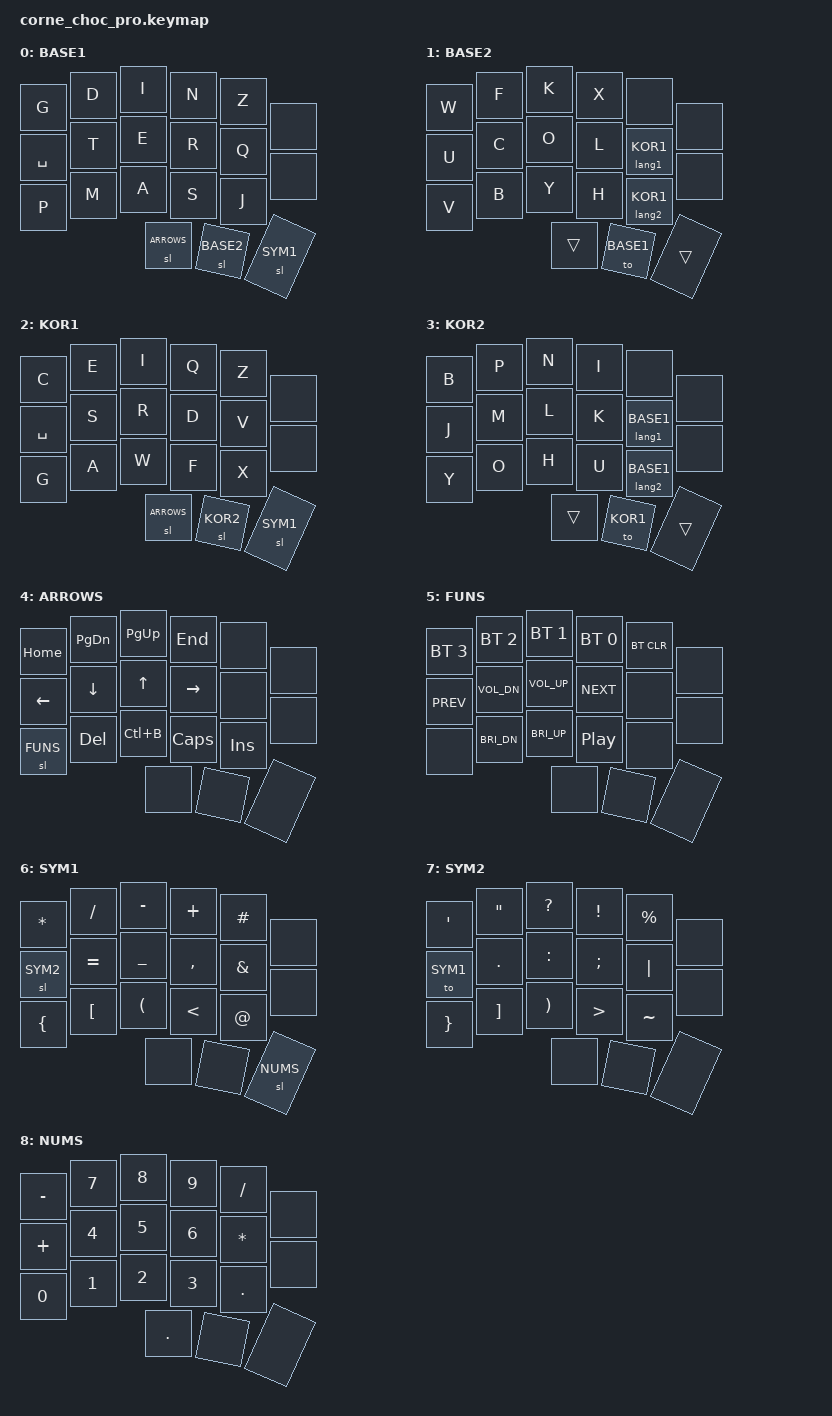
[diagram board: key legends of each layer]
/*
 * Copyright (c) 2020 The ZMK Contributors
 *
 * SPDX-License-Identifier: MIT
 */

#include <behaviors.dtsi>
#include <dt-bindings/zmk/keys.h>
#include <dt-bindings/zmk/bt.h>

#define BASE1  0
#define BASE2  1
#define KOR1   2
#define KOR2   3
#define ARROWS 4
#define FUNS   5
#define SYM1   6
#define SYM2   7
#define NUMS   8

/ {
   chosen {
      zmk,physical-layout = &left_only_layout;
   };
};

&sl {
    release-after-ms = <500>;
    quick-release;
};

&sk {
    release-after-ms = <500>;
    quick-release;
};

/ {
   macros {
      lang1: lang1 {
         compatible = "zmk,behavior-macro-one-param";
         wait-ms = <0>;
         tap-ms = <0>;
         #binding-cells = <1>;
         bindings =
            <&macro_tap &kp LC(SPACE)>
            , <&macro_param_1to1>
            , <&macro_tap &to MACRO_PLACEHOLDER>;
      };
      lang2: lang2 {
         compatible = "zmk,behavior-macro-one-param";
         wait-ms = <0>;
         tap-ms = <0>;
         #binding-cells = <1>;
         bindings =
            <&macro_param_1to1>
            , <&macro_tap &to MACRO_PLACEHOLDER>;
      };
   };
   combos {
        compatible = "zmk,combos";
        combo_f1 {
            key-positions = <10 13>;
            bindings = <&kp F1>;
            layers = <8>;
        };
        combo_f2 {
            key-positions = <10 14>;
            bindings = <&kp F2>;
            layers = <8>;
        };
        combo_f3 {
            key-positions = <10 15>;
            bindings = <&kp F3>;
            layers = <8>;
        };
        combo_f4 {
            key-positions = <10 7>;
            bindings = <&kp F4>;
            layers = <8>;
        };
        combo_f5 {
            key-positions = <10 8>;
            bindings = <&kp F5>;
            layers = <8>;
        };
        combo_f6 {
            key-positions = <10 9>;
            bindings = <&kp F6>;
            layers = <8>;
        };
        combo_f7 {
            key-positions = <10 1>;
            bindings = <&kp F7>;
            layers = <8>;
        };
        combo_f8 {
            key-positions = <10 2>;
            bindings = <&kp F8>;
            layers = <8>;
        };
        combo_f9 {
            key-positions = <10 3>;
            bindings = <&kp F9>;
            layers = <8>;
        };
        combo_f10 {
            key-positions = <10 12>;
            bindings = <&kp F10>;
            layers = <8>;
        };
        combo_f11 {
            key-positions = <10 6>;
            bindings = <&kp F11>;
            layers = <8>;
        };
        combo_f12 {
            key-positions = <10 0>;
            bindings = <&kp F12>;
            layers = <8>;
        };
        combo_dllr {
            key-positions = <12 13>;
            bindings = <&kp DLLR>;
            layers = <6>;
        };
        combo_caret {
            key-positions = <12 13>;
            bindings = <&kp CARET>;
            layers = <7>;
        };
        combo_bslh {
            key-positions = <0 1>;
            bindings = <&kp BSLH>;
            layers = <6>;
        };
        combo_grave {
            key-positions = <0 1>;
            bindings = <&kp GRAVE>;
            layers = <7>;
        };
        combo_bspc {
            key-positions = <2 3>;
            bindings = <&kp BSPC>;
            layers = <0 1 2 3 6 7>;
        };
        combo_lshft {
            key-positions = <7 8>;
            bindings = <&sk LSHFT>;
            layers = <0 1 2 3 6 7>;
        };
        combo_cw {
            key-positions = <1 2>;
            bindings = <&caps_word>;
            layers = <0 1 2 3 6 7>;
        };
        combo_tab {
            key-positions = <13 14>;
            bindings = <&kp TAB>;
            layers = <0 1 2 3 6 7>;
        };
        combo_esc {
            key-positions = <8 9>;
            bindings = <&kp ESC>;
            layers = <0 1 2 3 6 7>;
        };
        combo_ret {
            key-positions = <14 15>;
            bindings = <&kp RET>;
            layers = <0 1 2 3 6 7>;
        };
        combo_lcmd {
            key-positions = <9 10>;
            bindings = <&sk LCMD>;
            layers = <0 1 2 3 6 7>;
        };
        combo_lctrl {
            key-positions = <15 16>;
            bindings = <&sk LCTRL>;
            layers = <0 1 2 3 6 7>;
        };
        combo_lalt {
            key-positions = <3 4>;
            bindings = <&sk LALT>;
            layers = <0 1 2 3 6 7>;
        };
    };
   keymap {
      compatible = "zmk,keymap";
      base1_layer {
         display-name = "BASE1";
         bindings = <
            &kp G     &kp D &kp I &kp N &kp Z &none
            &kp SPACE &kp T &kp E &kp R &kp Q &none
            &kp P     &kp M &kp A &kp S &kp J
            &sl ARROWS &sl BASE2 &sl SYM1
            >;
      };
      base2_layer {
         display-name = "BASE2";
         bindings = <
            &kp W &kp F &kp K &kp X &none       &none
            &kp U &kp C &kp O &kp L &lang1 KOR1 &none
            &kp V &kp B &kp Y &kp H &lang2 KOR1
            &trans &to BASE1 &trans
            >;
      };
      kor1_layer {
         display-name = "KOR1";
         bindings = <
            &kp C     &kp E &kp I &kp Q &kp Z &none
            &kp SPACE &kp S &kp R &kp D &kp V &none
            &kp G     &kp A &kp W &kp F &kp X
            &sl ARROWS &sl KOR2 &sl SYM1
            >;
      };
      kor2_layer {
         display-name = "KOR2";
         bindings = <
            &kp B &kp P &kp N &kp I &none        &none
            &kp J &kp M &kp L &kp K &lang1 BASE1 &none
            &kp Y &kp O &kp H &kp U &lang2 BASE1
            &trans &to KOR1 &trans
            >;
      };
      arrows_layer {
         display-name = "ARROWS";
         bindings = <
            &kp HOME &kp PG_DN &kp PG_UP &kp END   &none &none
            &kp LEFT &kp DOWN  &kp UP    &kp RIGHT &none &none
            &sl FUNS &kp DEL   &kp LC(B) &kp CAPS  &kp INS
            &none &none &none
            >;
      };
      funs_layer {
         display-name = "FUNS";
         bindings = <
            &bt BT_SEL 3 &bt BT_SEL 2 &bt BT_SEL 1 &bt BT_SEL 0 &bt BT_CLR &none
            &kp C_PREV   &kp C_VOL_DN &kp C_VOL_UP &kp C_NEXT   &none      &none
            &none        &kp C_BRI_DN &kp C_BRI_UP &kp C_PP     &none
            &none &none &none
            >;
      };
      sym1_layer {
         display-name = "SYM1";
         bindings = <
            &kp STAR &kp FSLH &kp MINUS &kp PLUS  &kp HASH &none
            &sl SYM2 &kp EQL  &kp UNDER &kp COMMA &kp AMPS &none
            &kp LBRC &kp LBKT &kp LPAR  &kp LT    &kp AT
            &none &none &sl NUMS
            >;
      };
      sym2_layer {
         display-name = "SYM2";
         bindings = <
            &kp SQT  &kp DQT  &kp QMARK &kp EXCL &kp PRCNT &none
            &to SYM1 &kp DOT  &kp COLON &kp SEMI &kp PIPE  &none
            &kp RBRC &kp RBKT &kp RPAR  &kp GT   &kp TILDE
            &none &none &none
            >;
      };
      nums_layer {
         display-name = "NUMS";
         bindings = <
            &kp MINUS &kp N7 &kp N8 &kp N9 &kp FSLH &none
            &kp PLUS  &kp N4 &kp N5 &kp N6 &kp STAR &none
            &kp N0    &kp N1 &kp N2 &kp N3 &kp DOT
            &kp DOT &none &none
            >;
      };
   };
};
